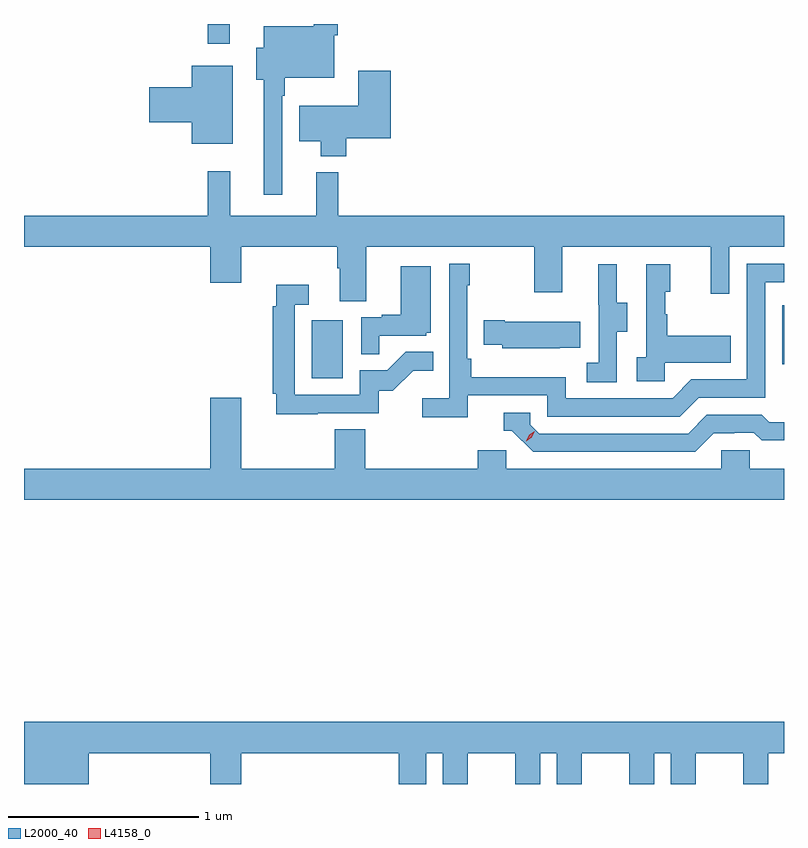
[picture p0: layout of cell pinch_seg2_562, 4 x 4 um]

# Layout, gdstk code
import gdstk
lib = gdstk.Library(unit=1e-6, precision=1e-09)
def R(c, l, rs):  # rectangles x0, y0, x1, y1
    for r in rs: c.add(gdstk.rectangle(r[:2], r[2:], *l))
def P(c, l, *ps):  # polygons
    for p in ps: c.add(gdstk.Polygon(p, *l))
L2000_40 = (2000, 40)
L4158_0 = (4158, 0)

pinch_seg2_562 = lib.new_cell('pinch_seg2_562')
R(pinch_seg2_562, L2000_40, [(1124.582,605.652,1124.746,605.959), (1127.058,605.727,1127.068,606.036), (1124.035,607.413,1124.152,607.517)])
P(pinch_seg2_562, L2000_40, [(1124.427,607.139),(1124.44,607.139),(1124.44,607.235),(1124.7,607.235),(1124.7,607.457),(1124.72,607.457),(1124.72,607.517),(1124.592,607.517),(1124.592,607.504),(1124.33,607.504),(1124.33,607.393),(1124.291,607.393),(1124.291,607.223),(1124.33,607.223),(1124.33,606.618),(1124.427,606.618)],
  [(1124.167,607.297),(1123.952,607.297),(1123.952,607.184),(1123.728,607.184),(1123.728,607.001),(1123.952,607.001),(1123.952,606.887),(1124.167,606.887)],
  [(1124.765,606.917),(1124.999,606.917),(1124.999,607.27),(1124.828,607.27),(1124.828,607.087),(1124.516,607.087),(1124.516,606.899),(1124.63,606.899),(1124.63,606.821),(1124.765,606.821)],
  [(1124.869,606.344),(1125.754,606.344),(1125.754,606.105),(1125.901,606.105),(1125.901,606.344),(1126.682,606.344),(1126.682,606.096),(1126.779,606.096),(1126.779,606.344),(1127.068,606.344),(1127.068,606.508),(1124.723,606.508),(1124.723,606.736),(1124.606,606.736),(1124.606,606.508),(1124.153,606.508),(1124.153,606.742),(1124.035,606.742),(1124.035,606.508),(1123.068,606.508),(1123.068,606.344),(1124.048,606.344),(1124.048,606.156),(1124.212,606.156),(1124.212,606.344),(1124.717,606.344),(1124.717,606.232),(1124.729,606.232),(1124.729,606.058),(1124.869,606.058)],
  [(1125.404,605.562),(1125.822,605.562),(1125.822,605.451),(1126.519,605.451),(1126.618,605.55),(1126.968,605.55),(1126.968,606.159),(1127.068,606.159),(1127.068,606.255),(1126.872,606.255),(1126.872,605.646),(1126.581,605.646),(1126.482,605.547),(1125.918,605.547),(1125.918,605.659),(1125.422,605.659),(1125.422,605.755),(1125.402,605.755),(1125.402,606.143),(1125.415,606.143),(1125.415,606.256),(1125.306,606.256),(1125.306,605.548),(1125.165,605.548),(1125.165,605.446),(1125.404,605.446)],
  [(1126.188,605.896),(1126.243,605.896),(1126.243,606.051),(1126.189,606.051),(1126.189,606.253),(1126.091,606.253),(1126.091,606.039),(1126.092,606.039),(1126.092,605.735),(1126.029,605.735),(1126.029,605.632),(1126.188,605.632)],
  [(1126.44,605.735),(1126.787,605.735),(1126.787,605.875),(1126.453,605.875),(1126.453,605.99),(1126.443,605.99),(1126.443,606.108),(1126.468,606.108),(1126.468,606.253),(1126.344,606.253),(1126.344,605.762),(1126.293,605.762),(1126.293,605.637),(1126.44,605.637)],
  [(1124.939,605.877),(1125.186,605.877),(1125.186,605.892),(1125.208,605.892),(1125.208,606.241),(1125.05,606.241),(1125.05,605.986),(1124.951,605.986),(1124.951,605.973),(1124.844,605.973),(1124.844,605.779),(1124.939,605.779)],
  [(1124.615,605.469),(1124.934,605.469),(1124.934,605.586),(1125.01,605.586),(1125.117,605.693),(1125.221,605.693),(1125.221,605.792),(1125.077,605.792),(1124.979,605.694),(1124.835,605.694),(1124.835,605.565),(1124.493,605.565),(1124.493,606.039),(1124.566,606.039),(1124.566,606.145),(1124.396,606.145),(1124.396,606.032),(1124.377,606.032),(1124.377,605.572),(1124.396,605.572),(1124.396,605.464),(1124.615,605.464)],
  [(1125.887,605.813),(1125.995,605.813),(1125.995,605.95),(1125.598,605.95),(1125.598,605.958),(1125.487,605.958),(1125.487,605.828),(1125.585,605.828),(1125.585,605.81),(1125.887,605.81)],
  [(1127.068,605.176),(1126.887,605.176),(1126.887,605.274),(1126.737,605.274),(1126.737,605.176),(1125.606,605.176),(1125.606,605.274),(1125.455,605.274),(1125.455,605.176),(1124.864,605.176),(1124.864,605.384),(1124.704,605.384),(1124.704,605.176),(1124.212,605.176),(1124.212,605.551),(1124.048,605.551),(1124.048,605.176),(1123.068,605.176),(1123.068,605.012),(1127.068,605.012)],
  [(1126.699,605.364),(1126.806,605.364),(1126.806,605.367),(1126.909,605.367),(1126.951,605.325),(1127.068,605.325),(1127.068,605.421),(1126.99,605.421),(1126.951,605.46),(1126.662,605.46),(1126.563,605.361),(1125.78,605.361),(1125.732,605.409),(1125.732,605.472),(1125.593,605.472),(1125.593,605.376),(1125.636,605.376),(1125.747,605.265),(1126.6,605.265)],
  [(1123.408,603.68),(1124.048,603.68),(1124.048,603.517),(1124.212,603.517),(1124.212,603.68),(1125.041,603.68),(1125.041,603.517),(1125.184,603.517),(1125.184,603.68),(1125.272,603.68),(1125.272,603.517),(1125.403,603.517),(1125.403,603.68),(1125.653,603.68),(1125.653,603.517),(1125.784,603.517),(1125.784,603.68),(1125.872,603.68),(1125.872,603.517),(1126.003,603.517),(1126.003,603.68),(1126.253,603.68),(1126.253,603.517),(1126.384,603.517),(1126.384,603.68),(1126.472,603.68),(1126.472,603.517),(1126.603,603.517),(1126.603,603.68),(1126.853,603.68),(1126.853,603.517),(1126.984,603.517),(1126.984,603.68),(1127.068,603.68),(1127.068,603.844),(1123.068,603.844),(1123.068,603.517),(1123.408,603.517)])
P(pinch_seg2_562, L4158_0, [(1125.711,605.321),(1125.711,605.322),(1125.726,605.354),(1125.757,605.374),(1125.757,605.374),(1125.757,605.374),(1125.741,605.341),(1125.711,605.321)])

lib.write_gds('pinch_seg2_562.gds')
